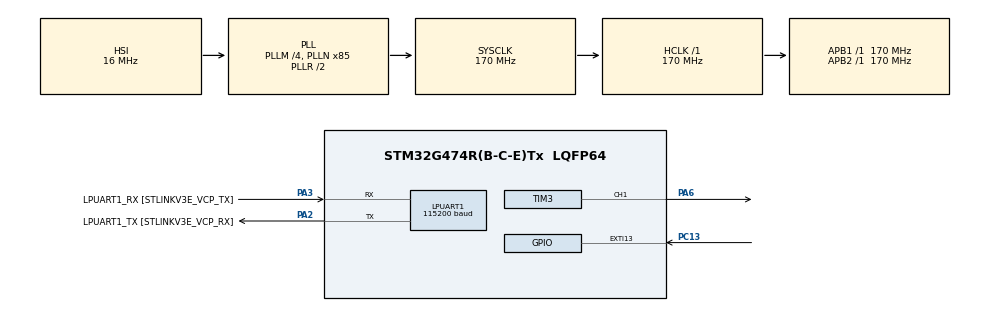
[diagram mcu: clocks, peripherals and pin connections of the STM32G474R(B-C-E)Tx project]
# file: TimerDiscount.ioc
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LPUART1.BaudRate=115200
Mcu.Family=STM32G4
Mcu.Name=STM32G474R(B-C-E)Tx
Mcu.Package=LQFP64
NVIC.EXTI15_10_IRQn=true\:0\:0\:false\:false\:true\:true\:true\:true
NVIC.PriorityGroup=NVIC_PRIORITYGROUP_4
PA13.GPIO_Label=T_SWDIO
PA13.Signal=SYS_JTMS-SWDIO
PA14.GPIO_Label=T_SWCLK
PA14.Signal=SYS_JTCK-SWCLK
PA2.GPIO_Label=LPUART1_TX [STLINKV3E_VCP_RX]
PA2.Mode=Asynchronous
PA2.Signal=LPUART1_TX
PA3.GPIO_Label=LPUART1_RX [STLINKV3E_VCP_TX]
PA3.Mode=Asynchronous
PA3.Signal=LPUART1_RX
PA6.Signal=S_TIM3_CH1
PB3.GPIO_Label=T_SWO
PB3.Signal=SYS_JTDO-SWO
PC13.Signal=GPXTI13
PC14-OSC32_IN.GPIO_Label=RCC_OSC32_IN
PC14-OSC32_IN.Signal=RCC_OSC32_IN
PC15-OSC32_OUT.GPIO_Label=RCC_OSC32_OUT
PC15-OSC32_OUT.Signal=RCC_OSC32_OUT
PF0-OSC_IN.GPIO_Label=RCC_OSC_IN
PF0-OSC_IN.Signal=RCC_OSC_IN
PF1-OSC_OUT.GPIO_Label=RCC_OSC_OUT
PF1-OSC_OUT.Signal=RCC_OSC_OUT
ProjectManager.HeapSize=0x200
ProjectManager.StackSize=0x400
ProjectManager.TargetToolchain=STM32CubeIDE
RCC.ADC12Freq_Value=170000000
RCC.ADC345Freq_Value=170000000
RCC.AHBFreq_Value=170000000
RCC.APB1Freq_Value=170000000
RCC.APB1TimFreq_Value=170000000
RCC.APB2Freq_Value=170000000
RCC.APB2TimFreq_Value=170000000
RCC.CortexFreq_Value=170000000
RCC.EXTERNAL_CLOCK_VALUE=12288000
RCC.HCLKFreq_Value=170000000
RCC.HSE_VALUE=24000000
RCC.HSI48_VALUE=48000000
RCC.HSI_VALUE=16000000
RCC.LSE_VALUE=32768
RCC.PLLM=RCC_PLLM_DIV4
RCC.PLLN=85
RCC.RTCClockSelection=RCC_RTCCLKSOURCE_LSE
RCC.SYSCLKFreq_VALUE=170000000
RCC.SYSCLKSource=RCC_SYSCLKSOURCE_PLLCLK
RCC.USBFreq_Value=170000000
RCC.VCOOutputFreq_Value=340000000
SH.S_TIM3_CH1.0=TIM3_CH1,PWM Generation1 CH1
TIM2.Prescaler=169
TIM3.Channel-PWM\ Generation1\ CH1=TIM_CHANNEL_1
TIM3.PeriodNoDither=999
TIM3.Prescaler=169
VP_SYS_VS_DBSignals.Mode=DisableDeadBatterySignals
VP_TIM2_VS_ClockSourceINT.Mode=Internal
board=NUCLEO-G474RE

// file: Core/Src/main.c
/* USER CODE BEGIN Header */
/**
  ******************************************************************************
  * @file           : main.c
  * @brief          : Main program body
  ******************************************************************************
  * @attention
  *
  * Copyright (c) 2026 STMicroelectronics.
  * All rights reserved.
  *
  * This software is licensed under terms that can be found in the LICENSE file
  * in the root directory of this software component.
  * If no LICENSE file comes with this software, it is provided AS-IS.
  *
  ******************************************************************************
  */
/* USER CODE END Header */
#include "main.h"

/* USER CODE BEGIN Includes */
#include <stdio.h>
#include <string.h>
#include <math.h>
/* USER CODE END Includes */

UART_HandleTypeDef hlpuart1;

TIM_HandleTypeDef htim2;
TIM_HandleTypeDef htim3;

/* USER CODE BEGIN PV */
/* 計時狀態：0=等待開始，1=正在計時，2=計時完成 */
volatile uint8_t game_state = 0;

/* 按鈕防彈跳 */
volatile uint32_t last_button_tick = 0;

/* TIM2 計數結果 */
volatile uint32_t elapsed_ms = 0;

/* 計時結果 */
float elapsed_time = 0.0f;
float time_error = 0.0f;

/* 折扣：50=5折、70=7折、90=9折、100=無折扣 */
uint8_t discount = 100;

/* UART 傳送緩衝區 */
char uart_buffer[100];
/* USER CODE END PV */

void SystemClock_Config(void);
static void MX_GPIO_Init(void);
static void MX_LPUART1_UART_Init(void);
static void MX_TIM2_Init(void);
static void MX_TIM3_Init(void);
/* USER CODE BEGIN PFP */
uint8_t Calculate_Discount(float error);
void LED_Breath_Three_Times(void);
/* USER CODE END PFP */

int main(void)
{

  /* MCU Configuration--------------------------------------------------------*/

  /* Reset of all peripherals, Initializes the Flash interface and the Systick. */
  HAL_Init();

  /* Configure the system clock */
  SystemClock_Config();

  /* Initialize all configured peripherals */
  MX_GPIO_Init();
  MX_LPUART1_UART_Init();
  MX_TIM2_Init();
  MX_TIM3_Init();

  /* Infinite loop */
  while (1)
  {

    /* USER CODE BEGIN 3 */

	  if (game_state == 2)
	  {
	      /* 先進入結果處理狀態，避免重複處理 */
	      game_state = 3;

	      /* 將毫秒轉換成秒 */
	      elapsed_time = elapsed_ms / 1000000.0f;

	      /* 計算與 10 秒的絕對誤差 */
	      time_error = fabsf(elapsed_time - 10.0f);

	      /* 計算折扣 */
	      discount = Calculate_Discount(time_error);

	      /* 格式化 UART 傳送資料 */
	      int len = snprintf(uart_buffer, sizeof(uart_buffer),
	                         "TIME:%.3f,ERROR:%.3f,DISCOUNT:%u\r\n",
	                         elapsed_time, time_error, discount);

	      /* 傳送結果至電腦 */
	      if (len > 0 && len < sizeof(uart_buffer))
	      {
	          HAL_UART_Transmit(&hlpuart1,
	                            (uint8_t *)uart_buffer,
	                            (uint16_t)len,
	                            1000);
	      }

	      /* 黃色 LED 呼吸三次 */
	      LED_Breath_Three_Times();

	      /* 恢復等待下一輪挑戰 */
	      game_state = 0;
	  }

	  HAL_Delay(1);

  /* USER CODE END 3 */
  }
}

void SystemClock_Config(void)
{
  RCC_OscInitTypeDef RCC_OscInitStruct = {0};
  RCC_ClkInitTypeDef RCC_ClkInitStruct = {0};

  /** Configure the main internal regulator output voltage
  */
  HAL_PWREx_ControlVoltageScaling(PWR_REGULATOR_VOLTAGE_SCALE1_BOOST);

  /** Initializes the RCC Oscillators according to the specified parameters
  * in the RCC_OscInitTypeDef structure.
  */
  RCC_OscInitStruct.OscillatorType = RCC_OSCILLATORTYPE_HSI;
  RCC_OscInitStruct.HSIState = RCC_HSI_ON;
  RCC_OscInitStruct.HSICalibrationValue = RCC_HSICALIBRATION_DEFAULT;
  RCC_OscInitStruct.PLL.PLLState = RCC_PLL_ON;
  RCC_OscInitStruct.PLL.PLLSource = RCC_PLLSOURCE_HSI;
  RCC_OscInitStruct.PLL.PLLM = RCC_PLLM_DIV4;
  RCC_OscInitStruct.PLL.PLLN = 85;
  RCC_OscInitStruct.PLL.PLLP = RCC_PLLP_DIV2;
  RCC_OscInitStruct.PLL.PLLQ = RCC_PLLQ_DIV2;
  RCC_OscInitStruct.PLL.PLLR = RCC_PLLR_DIV2;
  if (HAL_RCC_OscConfig(&RCC_OscInitStruct) != HAL_OK)
  {
    Error_Handler();
  }

  /** Initializes the CPU, AHB and APB buses clocks
  */
  RCC_ClkInitStruct.ClockType = RCC_CLOCKTYPE_HCLK|RCC_CLOCKTYPE_SYSCLK
                              |RCC_CLOCKTYPE_PCLK1|RCC_CLOCKTYPE_PCLK2;
  RCC_ClkInitStruct.SYSCLKSource = RCC_SYSCLKSOURCE_PLLCLK;
  RCC_ClkInitStruct.AHBCLKDivider = RCC_SYSCLK_DIV1;
  RCC_ClkInitStruct.APB1CLKDivider = RCC_HCLK_DIV1;
  RCC_ClkInitStruct.APB2CLKDivider = RCC_HCLK_DIV1;

  if (HAL_RCC_ClockConfig(&RCC_ClkInitStruct, FLASH_LATENCY_4) != HAL_OK)
  {
    Error_Handler();
  }
}

static void MX_LPUART1_UART_Init(void)
{

  hlpuart1.Instance = LPUART1;
  hlpuart1.Init.BaudRate = 115200;
  hlpuart1.Init.WordLength = UART_WORDLENGTH_8B;
  hlpuart1.Init.StopBits = UART_STOPBITS_1;
  hlpuart1.Init.Parity = UART_PARITY_NONE;
  hlpuart1.Init.Mode = UART_MODE_TX_RX;
  hlpuart1.Init.HwFlowCtl = UART_HWCONTROL_NONE;
  hlpuart1.Init.OneBitSampling = UART_ONE_BIT_SAMPLE_DISABLE;
  hlpuart1.Init.ClockPrescaler = UART_PRESCALER_DIV1;
  hlpuart1.AdvancedInit.AdvFeatureInit = UART_ADVFEATURE_NO_INIT;
  if (HAL_UART_Init(&hlpuart1) != HAL_OK)
  {
    Error_Handler();
  }
  if (HAL_UARTEx_SetTxFifoThreshold(&hlpuart1, UART_TXFIFO_THRESHOLD_1_8) != HAL_OK)
  {
    Error_Handler();
  }
  if (HAL_UARTEx_SetRxFifoThreshold(&hlpuart1, UART_RXFIFO_THRESHOLD_1_8) != HAL_OK)
  {
    Error_Handler();
  }
  if (HAL_UARTEx_DisableFifoMode(&hlpuart1) != HAL_OK)
  {
    Error_Handler();
  }

}

static void MX_TIM2_Init(void)
{

  TIM_ClockConfigTypeDef sClockSourceConfig = {0};
  TIM_MasterConfigTypeDef sMasterConfig = {0};

  htim2.Instance = TIM2;
  htim2.Init.Prescaler = 169;
  htim2.Init.CounterMode = TIM_COUNTERMODE_UP;
  htim2.Init.Period = 4294967295;
  htim2.Init.ClockDivision = TIM_CLOCKDIVISION_DIV1;
  htim2.Init.AutoReloadPreload = TIM_AUTORELOAD_PRELOAD_DISABLE;
  if (HAL_TIM_Base_Init(&htim2) != HAL_OK)
  {
    Error_Handler();
  }
  sClockSourceConfig.ClockSource = TIM_CLOCKSOURCE_INTERNAL;
  if (HAL_TIM_ConfigClockSource(&htim2, &sClockSourceConfig) != HAL_OK)
  {
    Error_Handler();
  }
  sMasterConfig.MasterOutputTrigger = TIM_TRGO_RESET;
  sMasterConfig.MasterSlaveMode = TIM_MASTERSLAVEMODE_DISABLE;
  if (HAL_TIMEx_MasterConfigSynchronization(&htim2, &sMasterConfig) != HAL_OK)
  {
    Error_Handler();
  }

}

static void MX_TIM3_Init(void)
{

  TIM_MasterConfigTypeDef sMasterConfig = {0};
  TIM_OC_InitTypeDef sConfigOC = {0};

  htim3.Instance = TIM3;
  htim3.Init.Prescaler = 169;
  htim3.Init.CounterMode = TIM_COUNTERMODE_UP;
  htim3.Init.Period = 999;
  htim3.Init.ClockDivision = TIM_CLOCKDIVISION_DIV1;
  htim3.Init.AutoReloadPreload = TIM_AUTORELOAD_PRELOAD_DISABLE;
  if (HAL_TIM_PWM_Init(&htim3) != HAL_OK)
  {
    Error_Handler();
  }
  sMasterConfig.MasterOutputTrigger = TIM_TRGO_RESET;
  sMasterConfig.MasterSlaveMode = TIM_MASTERSLAVEMODE_DISABLE;
  if (HAL_TIMEx_MasterConfigSynchronization(&htim3, &sMasterConfig) != HAL_OK)
  {
    Error_Handler();
  }
  sConfigOC.OCMode = TIM_OCMODE_PWM1;
  sConfigOC.Pulse = 0;
  sConfigOC.OCPolarity = TIM_OCPOLARITY_HIGH;
  sConfigOC.OCFastMode = TIM_OCFAST_DISABLE;
  if (HAL_TIM_PWM_ConfigChannel(&htim3, &sConfigOC, TIM_CHANNEL_1) != HAL_OK)
  {
    Error_Handler();
  }
  HAL_TIM_MspPostInit(&htim3);

}

static void MX_GPIO_Init(void)
{
  GPIO_InitTypeDef GPIO_InitStruct = {0};

  /* GPIO Ports Clock Enable */
  __HAL_RCC_GPIOC_CLK_ENABLE();
  __HAL_RCC_GPIOF_CLK_ENABLE();
  __HAL_RCC_GPIOA_CLK_ENABLE();
  __HAL_RCC_GPIOB_CLK_ENABLE();

  /*Configure GPIO pin : PC13 */
  GPIO_InitStruct.Pin = GPIO_PIN_13;
  GPIO_InitStruct.Mode = GPIO_MODE_IT_RISING;
  GPIO_InitStruct.Pull = GPIO_NOPULL;
  HAL_GPIO_Init(GPIOC, &GPIO_InitStruct);

  /* EXTI interrupt init*/
  HAL_NVIC_SetPriority(EXTI15_10_IRQn, 0, 0);
  HAL_NVIC_EnableIRQ(EXTI15_10_IRQn);

}

/* USER CODE BEGIN 4 */

void HAL_GPIO_EXTI_Callback(uint16_t GPIO_Pin)
{
    if (GPIO_Pin == GPIO_PIN_13)
    {
        uint32_t now = HAL_GetTick();

        /* 50 ms 按鈕防彈跳 */
        if ((now - last_button_tick) < 50)
        {
            return;
        }

        last_button_tick = now;

        if (game_state == 0)
        {
            /* 第一次按下：開始計時 */
            __HAL_TIM_SET_COUNTER(&htim2, 0);
            HAL_TIM_Base_Start(&htim2);

            game_state = 1;
        }
        else if (game_state == 1)
        {
            /* 第二次按下：停止計時 */
            HAL_TIM_Base_Stop(&htim2);

            elapsed_ms = __HAL_TIM_GET_COUNTER(&htim2);

            game_state = 2;
        }
    }
}
uint8_t Calculate_Discount(float error)
{
    if (error <= 0.05f)
    {
        return 50;    // 5折
    }
    else if (error <= 0.20f)
    {
        return 70;    // 7折
    }
    else if (error <= 1.00f)
    {
        return 90;    // 9折
    }
    else
    {
        return 100;   // 10折
    }
}
void LED_Breath_Three_Times(void)
{
    /* 啟動 TIM3 Channel 1 PWM */
    HAL_TIM_PWM_Start(&htim3, TIM_CHANNEL_1);

    for (int cycle = 0; cycle < 3; cycle++)
    {
        /* LED 由暗漸亮 */
        for (int duty = 0; duty <= 1000; duty += 10)
        {
            __HAL_TIM_SET_COMPARE(&htim3, TIM_CHANNEL_1, duty);
            HAL_Delay(5);
        }

        /* LED 由亮漸暗 */
        for (int duty = 1000; duty >= 0; duty -= 10)
        {
            __HAL_TIM_SET_COMPARE(&htim3, TIM_CHANNEL_1, duty);
            HAL_Delay(5);
        }
    }

    /* 呼吸結束，關閉 LED */
    __HAL_TIM_SET_COMPARE(&htim3, TIM_CHANNEL_1, 0);
    HAL_TIM_PWM_Stop(&htim3, TIM_CHANNEL_1);
}
/* USER CODE END 4 */

void Error_Handler(void)
{
  __disable_irq();
  while (1)
  {
  }
}
